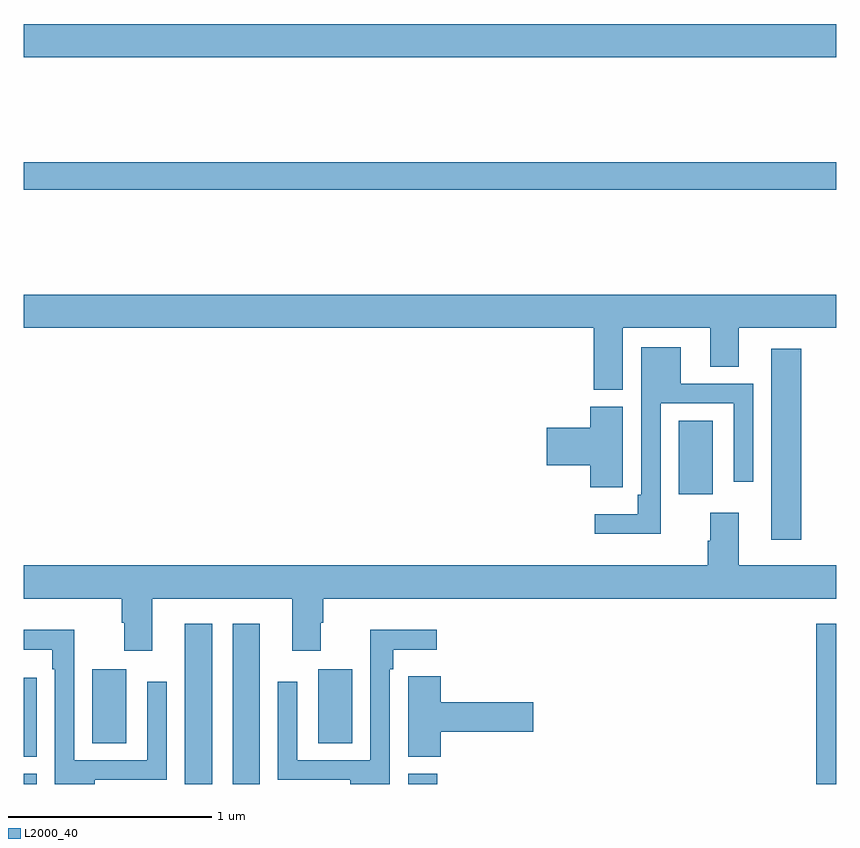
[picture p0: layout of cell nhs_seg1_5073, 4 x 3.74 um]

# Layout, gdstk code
import gdstk
lib = gdstk.Library(unit=1e-6, precision=1e-09)
def R(c, l, rs):  # rectangles x0, y0, x1, y1
    for r in rs: c.add(gdstk.rectangle(r[:2], r[2:], *l))
def P(c, l, *ps):  # polygons
    for p in ps: c.add(gdstk.Polygon(p, *l))
L2000_40 = (2000, 40)

nhs_seg1_5073 = lib.new_cell('nhs_seg1_5073')
R(nhs_seg1_5073, L2000_40, [(387,504.199,387.064,504.249), (387.794,504.199,387.928,504.988), (388.028,504.199,388.162,504.988), (388.892,504.199,389.036,504.249), (390.902,504.199,391,504.988), (387,504.334,387.064,504.721), (387.338,504.4,387.505,504.763), (388.451,504.4,388.618,504.763), (390.68,505.401,390.827,506.341), (390.224,505.626,390.391,505.988), (387,507.124,391,507.26), (387,507.776,391,507.94)])
P(nhs_seg1_5073, L2000_40, [(389.95,506.444),(390.38,506.444),(390.38,506.254),(390.52,506.254),(390.52,506.444),(391,506.444),(391,506.608),(387,506.608),(387,506.444),(389.807,506.444),(389.807,506.14),(389.95,506.14)],
  [(390.135,506.073),(390.495,506.073),(390.495,505.686),(390.591,505.686),(390.591,506.169),(390.235,506.169),(390.235,506.35),(390.039,506.35),(390.039,505.624),(390.023,505.624),(390.023,505.528),(389.811,505.528),(389.811,505.43),(390.135,505.43)],
  [(389.949,505.771),(389.95,505.771),(389.95,506.055),(389.789,506.055),(389.789,505.952),(389.574,505.952),(389.574,505.769),(389.789,505.769),(389.789,505.659),(389.949,505.659)],
  [(387.634,505.112),(388.322,505.112),(388.322,504.855),(388.462,504.855),(388.462,504.992),(388.475,504.992),(388.475,505.112),(391,505.112),(391,505.276),(390.52,505.276),(390.52,505.534),(390.38,505.534),(390.38,505.397),(390.368,505.397),(390.368,505.276),(387,505.276),(387,505.112),(387.482,505.112),(387.482,504.992),(387.494,504.992),(387.494,504.855),(387.634,504.855)],
  [(388.803,504.764),(388.819,504.764),(388.819,504.86),(389.032,504.86),(389.032,504.958),(388.707,504.958),(388.707,504.315),(388.347,504.315),(388.347,504.703),(388.251,504.703),(388.251,504.219),(388.607,504.219),(388.607,504.199),(388.803,504.199)],
  [(387.349,504.219),(387.705,504.219),(387.705,504.703),(387.609,504.703),(387.609,504.315),(387.249,504.315),(387.249,504.958),(387,504.958),(387,504.86),(387.141,504.86),(387.141,504.764),(387.153,504.764),(387.153,504.199),(387.349,504.199)],
  [(389.054,504.455),(389.509,504.455),(389.509,504.602),(389.054,504.602),(389.054,504.73),(388.893,504.73),(388.893,504.617),(388.892,504.617),(388.892,504.334),(389.054,504.334)])

lib.write_gds('nhs_seg1_5073.gds')
